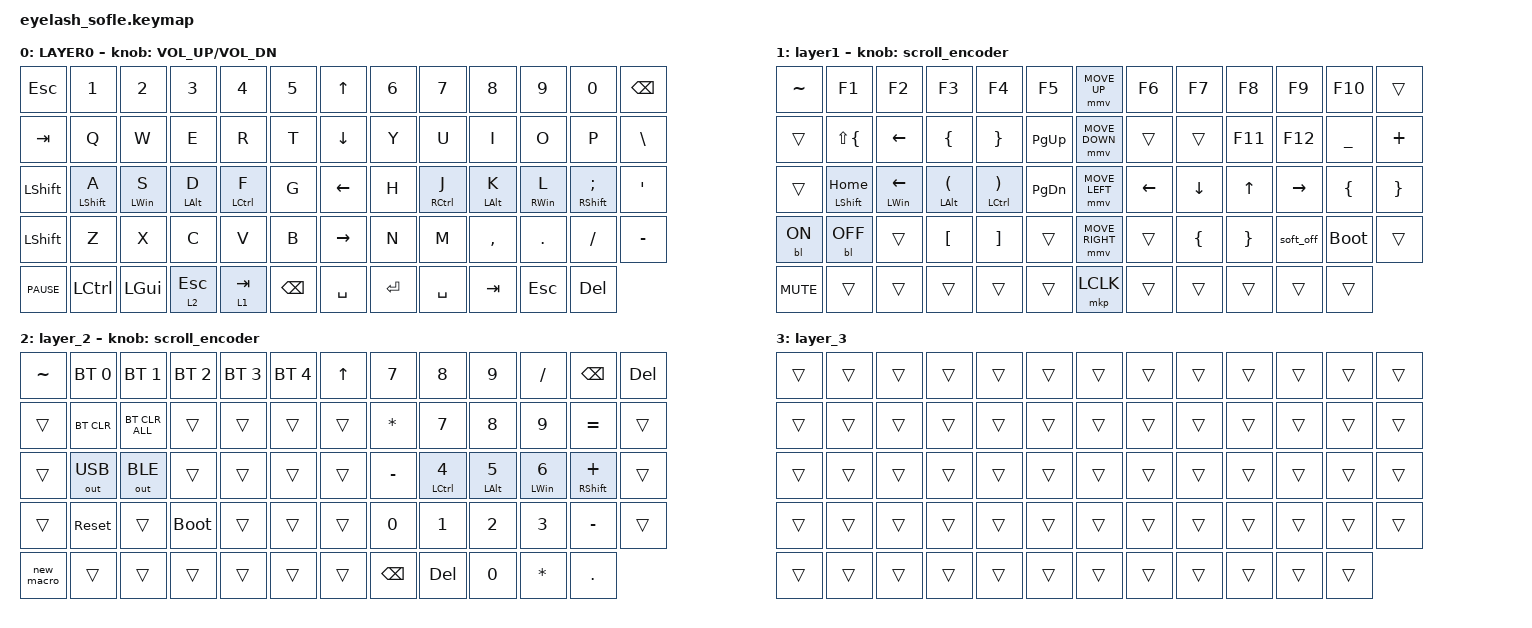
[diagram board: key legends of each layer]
#define ZMK_POINTING_DEFAULT_MOVE_VAL 1200  // 600
#define ZMK_POINTING_DEFAULT_SCRL_VAL 25   // 10

#include <input/processors.dtsi>
#include <zephyr/dt-bindings/input/input-event-codes.h>
#include <behaviors.dtsi>
#include <dt-bindings/zmk/backlight.h>
#include <dt-bindings/zmk/bt.h>
#include <dt-bindings/zmk/keys.h>
#include <dt-bindings/zmk/outputs.h>
#include <dt-bindings/zmk/pointing.h>

&mmv_input_listener { input-processors = <&zip_xy_scaler 2 1>; };

&msc_input_listener { input-processors = <&zip_scroll_scaler 2 1>; };

&msc {
    acceleration-exponent = <1>;      // 0
    time-to-max-speed-ms = <100>;       // 300
    delay-ms = <0>;                   // 0
};

&mmv {
    time-to-max-speed-ms = <500>;
    acceleration-exponent = <1>;
    trigger-period-ms = <16>;
};

/ {
    scroll_encoder: scroll_encoder {
        compatible = "zmk,behavior-sensor-rotate";
        #sensor-binding-cells = <0>;
        bindings = <&msc SCRL_DOWN>, <&msc SCRL_UP>;

        tap-ms = <100>;
    };

    behaviors {
        // Home row mods with settings optimized for fast typing

        hml: homerow_mods_left {
            compatible = "zmk,behavior-hold-tap";
            #binding-cells = <2>;
            bindings = <&kp>, <&kp>;

            flavor = "balanced";
            tapping-term-ms = <280>;
            quick-tap-ms = <175>;
            require-prior-idle-ms = <150>;
            hold-trigger-key-positions = <6 7 8 9 10 11 12 19 20 21 22 23 24 25 32 33 34 35 36 37 38 45 46 47 48 49 50 51 58 59 60 61 62>;
            hold-trigger-on-release;
        };

        hmr: homerow_mods_right {
            compatible = "zmk,behavior-hold-tap";
            #binding-cells = <2>;
            bindings = <&kp>, <&kp>;

            flavor = "balanced";
            tapping-term-ms = <280>;
            quick-tap-ms = <175>;
            require-prior-idle-ms = <150>;
            hold-trigger-key-positions = <0 1 2 3 4 5 13 14 15 16 17 18 26 27 28 29 30 31 39 40 41 42 43 44 52 53 54 55 56 57>;
            hold-trigger-on-release;
        };
    };

    macros {
        new_macro: new_macro {
            compatible = "zmk,behavior-macro";
            #binding-cells = <0>;
            bindings = <&none &kp LS(T) &kp Y &kp P &kp E &kp SPACE &kp S &kp O &kp M &kp E &kp T &kp H &kp I &kp N &kp G &kp DOT &kp DOT &kp DOT>;
            label = "NEW_MACRO";
        };

        boom: boom {
            compatible = "zmk,behavior-macro";
            #binding-cells = <0>;
            bindings = <&none>;
            label = "BOOM";
        };
    };

    keymap {
        compatible = "zmk,keymap";

        layer0 {
            bindings = <
&kp ESC         &kp N1         &kp N2           &kp N3           &kp N4               &kp N5           &kp UP_ARROW     &kp N6      &kp N7                &kp N8           &kp N9            &kp N0                 &kp BACKSPACE
&kp TAB         &kp Q          &kp W            &kp E            &kp R                &kp T            &kp DOWN_ARROW   &kp Y       &kp U                 &kp I            &kp O             &kp P                  &kp BSLH
&kp LEFT_SHIFT  &hml LSHIFT A  &hml LEFT_WIN S  &hml LEFT_ALT D  &hml LEFT_CONTROL F  &kp G            &kp LEFT_ARROW   &kp H       &hmr RIGHT_CONTROL J  &hmr LEFT_ALT K  &hmr RIGHT_WIN L  &hmr RIGHT_SHIFT SEMI  &kp SINGLE_QUOTE
&kp LSHFT       &kp Z          &kp X            &kp C            &kp V                &kp B            &kp RIGHT_ARROW  &kp N       &kp M                 &kp COMMA        &kp DOT           &kp FSLH               &kp MINUS
&kp C_PAUSE     &kp LCTRL      &kp LEFT_GUI     &lt 2 ESCAPE     &lt 1 TAB            &kp BACKSPACE    &kp SPACE        &kp RETURN  &kp SPACE             &kp TAB          &kp ESC           &kp DELETE
            >;

            sensor-bindings = <&inc_dec_kp C_VOLUME_UP C_VOL_DN>;
            display-name = "LAYER0";
        };

        layer_1 {
            bindings = <
&kp TILDE   &kp F1                &kp F2                    &kp F3                          &kp F4                               &kp F5           &mmv MOVE_UP     &kp F6    &kp F7          &kp F8           &kp F9     &kp F10      &trans
&trans      &kp LS(LBRC)          &kp LEFT                  &kp LEFT_BRACE                  &kp RIGHT_BRACE                      &kp PAGE_UP      &mmv MOVE_DOWN   &trans    &trans          &kp F11          &kp F12    &kp UNDER    &kp PLUS
&trans      &hml LEFT_SHIFT HOME  &hml LEFT_WIN LEFT_ARROW  &hml LEFT_ALT LEFT_PARENTHESIS  &hml LEFT_CONTROL RIGHT_PARENTHESIS  &kp PAGE_DOWN    &mmv MOVE_LEFT   &kp LEFT  &kp DOWN        &kp UP_ARROW     &kp RIGHT  &kp LBRC     &kp RBRC
&bl BL_ON   &bl BL_OFF            &trans                    &kp LEFT_BRACKET                &kp RIGHT_BRACKET                    &trans           &mmv MOVE_RIGHT  &trans    &kp LEFT_BRACE  &kp RIGHT_BRACE  &soft_off  &bootloader  &trans
&kp C_MUTE  &trans                &trans                    &trans                          &trans                               &trans           &mkp LCLK        &trans    &trans          &trans           &trans     &trans
            >;

            display-name = "layer1";
            sensor-bindings = <&scroll_encoder>;
        };

        layer_2 {
            bindings = <
&kp TILDE   &bt BT_SEL 0  &bt BT_SEL 1    &bt BT_SEL 2  &bt BT_SEL 3  &bt BT_SEL 4    &kp UP  &kp N7         &kp N8                      &kp N9            &kp SLASH               &kp BSPC               &kp DEL
&trans      &bt BT_CLR    &bt BT_CLR_ALL  &trans        &trans        &trans          &trans  &kp STAR       &kp N7                      &kp N8            &kp N9                  &kp EQUAL              &trans
&trans      &out OUT_USB  &out OUT_BLE    &trans        &trans        &trans          &trans  &kp MINUS      &hml LEFT_CONTROL NUMBER_4  &hml LEFT_ALT N5  &hml LEFT_WIN NUMBER_6  &hml RIGHT_SHIFT PLUS  &trans
&trans      &sys_reset    &trans          &bootloader   &trans        &trans          &trans  &kp N0         &kp NUMBER_1                &kp NUMBER_2      &kp NUMBER_3            &kp MINUS              &trans
&new_macro  &trans        &trans          &trans        &trans        &trans          &trans  &kp BACKSPACE  &kp DELETE                  &kp N0            &kp STAR                &kp PERIOD
            >;

            sensor-bindings = <&scroll_encoder>;
        };

        layer_3 {
            bindings = <
&trans  &trans  &trans  &trans  &trans  &trans    &trans  &trans  &trans  &trans  &trans  &trans  &trans
&trans  &trans  &trans  &trans  &trans  &trans    &trans  &trans  &trans  &trans  &trans  &trans  &trans
&trans  &trans  &trans  &trans  &trans  &trans    &trans  &trans  &trans  &trans  &trans  &trans  &trans
&trans  &trans  &trans  &trans  &trans  &trans    &trans  &trans  &trans  &trans  &trans  &trans  &trans
&trans  &trans  &trans  &trans  &trans  &trans    &trans  &trans  &trans  &trans  &trans  &trans
            >;
        };
    };
};
